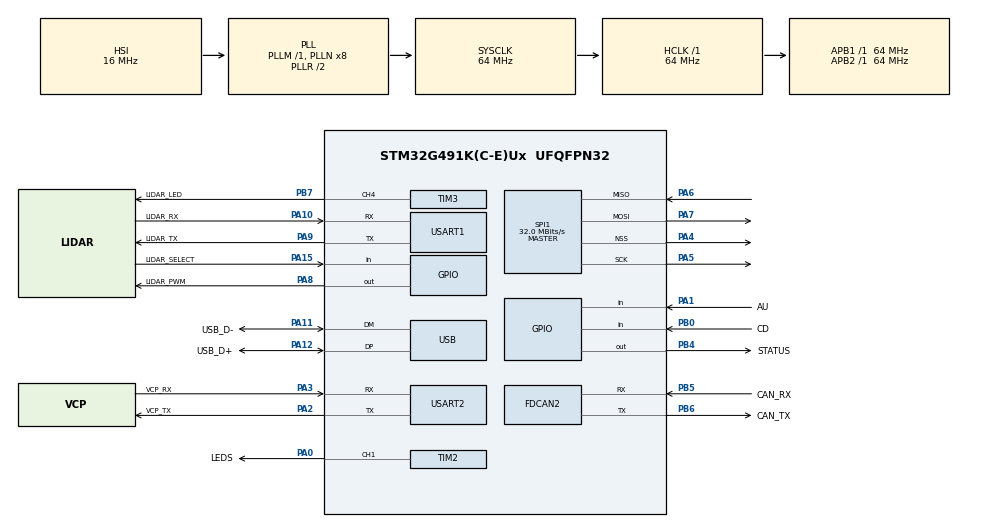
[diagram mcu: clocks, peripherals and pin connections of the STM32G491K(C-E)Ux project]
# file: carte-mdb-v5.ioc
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Dma.Request0=USART1_RX
Dma.USART1_RX.0.Direction=DMA_PERIPH_TO_MEMORY
Dma.USART1_RX.0.EventEnable=DISABLE
Dma.USART1_RX.0.Instance=DMA1_Channel5
Dma.USART1_RX.0.MemDataAlignment=DMA_MDATAALIGN_BYTE
Dma.USART1_RX.0.MemInc=DMA_MINC_ENABLE
Dma.USART1_RX.0.Mode=DMA_CIRCULAR
Dma.USART1_RX.0.PeriphDataAlignment=DMA_PDATAALIGN_BYTE
Dma.USART1_RX.0.PeriphInc=DMA_PINC_DISABLE
Dma.USART1_RX.0.Polarity=HAL_DMAMUX_REQ_GEN_RISING
Dma.USART1_RX.0.Priority=DMA_PRIORITY_HIGH
Dma.USART1_RX.0.RequestNumber=1
Dma.USART1_RX.0.SignalID=NONE
Dma.USART1_RX.0.SyncEnable=DISABLE
Dma.USART1_RX.0.SyncPolarity=HAL_DMAMUX_SYNC_NO_EVENT
Dma.USART1_RX.0.SyncRequestNumber=1
Dma.USART1_RX.0.SyncSignalID=NONE
FDCAN2.CalculateBaudRateNominal=800000
FDCAN2.CalculateTimeBitNominal=1250
FDCAN2.CalculateTimeQuantumNominal=250.0
Mcu.Family=STM32G4
Mcu.Name=STM32G491K(C-E)Ux
Mcu.Package=UFQFPN32
NVIC.DMA1_Channel5_IRQn=true\:0\:0\:false\:false\:true\:false\:true\:true
NVIC.PriorityGroup=NVIC_PRIORITYGROUP_4
NVIC.USART1_IRQn=true\:0\:0\:false\:false\:true\:true\:true\:true
PA0.GPIO_Label=LEDS
PA0.Signal=S_TIM2_CH1
PA1.GPIO_Label=AU
PA1.GPIO_PuPd=GPIO_PULLDOWN
PA1.Signal=GPIO_Input
PA10.GPIO_Label=LIDAR_RX
PA10.Mode=Asynchronous
PA10.Signal=USART1_RX
PA11.GPIO_Label=USB_D-
PA11.Mode=Device
PA11.Signal=USB_DM
PA12.GPIO_Label=USB_D+
PA12.Mode=Device
PA12.Signal=USB_DP
PA13.GPIO_Label=SWDIO
PA13.Mode=Trace_Asynchronous_SW
PA13.Signal=SYS_JTMS-SWDIO
PA14.GPIO_Label=SWCLK
PA14.Mode=Trace_Asynchronous_SW
PA14.Signal=SYS_JTCK-SWCLK
PA15.GPIO_Label=LIDAR_SELECT
PA15.GPIO_PuPd=GPIO_PULLDOWN
PA15.Signal=GPIO_Input
PA2.GPIO_Label=VCP_TX
PA2.Mode=Asynchronous
PA2.Signal=USART2_TX
PA3.GPIO_Label=VCP_RX
PA3.Mode=Asynchronous
PA3.Signal=USART2_RX
PA4.Mode=NSS_Signal_Hard_Output
PA4.Signal=SPI1_NSS
PA5.Mode=Full_Duplex_Master
PA5.Signal=SPI1_SCK
PA6.Mode=Full_Duplex_Master
PA6.Signal=SPI1_MISO
PA7.Mode=Full_Duplex_Master
PA7.Signal=SPI1_MOSI
PA8.GPIO_Label=LIDAR_PWM
PA8.Signal=GPIO_Output
PA9.GPIO_Label=LIDAR_TX
PA9.Mode=Asynchronous
PA9.Signal=USART1_TX
PB0.GPIO_Label=CD
PB0.GPIO_PuPd=GPIO_PULLUP
PB0.Signal=GPIO_Input
PB3.GPIO_Label=SWO
PB3.Mode=Trace_Asynchronous_SW
PB3.Signal=SYS_JTDO-SWO
PB4.GPIO_Label=STATUS
PB4.GPIO_Speed=GPIO_SPEED_FREQ_HIGH
PB4.PinState=GPIO_PIN_RESET
PB4.Signal=GPIO_Output
PB5.GPIO_Label=CAN_RX
PB5.Mode=FDCAN_Activate
PB5.Signal=FDCAN2_RX
PB6.GPIO_Label=CAN_TX
PB6.Mode=FDCAN_Activate
PB6.Signal=FDCAN2_TX
PB7.GPIO_Label=LIDAR_LED
PB7.Signal=S_TIM3_CH4
ProjectManager.HeapSize=0x200
ProjectManager.StackSize=0x400
ProjectManager.TargetToolchain=STM32CubeIDE
RCC.ADC12Freq_Value=64000000
RCC.ADC345Freq_Value=64000000
RCC.AHBFreq_Value=64000000
RCC.APB1Freq_Value=64000000
RCC.APB1TimFreq_Value=64000000
RCC.APB2Freq_Value=64000000
RCC.APB2TimFreq_Value=64000000
RCC.CortexFreq_Value=64000000
RCC.EXTERNAL_CLOCK_VALUE=12288000
RCC.HCLKFreq_Value=64000000
RCC.HSE_VALUE=8000000
RCC.HSI48_VALUE=48000000
RCC.HSI_VALUE=16000000
RCC.LSE_VALUE=32768
RCC.SYSCLKFreq_VALUE=64000000
RCC.SYSCLKSource=RCC_SYSCLKSOURCE_PLLCLK
RCC.USBFreq_Value=48000000
RCC.VCOOutputFreq_Value=128000000
SH.S_TIM2_CH1.0=TIM2_CH1,PWM Generation1 CH1
SH.S_TIM3_CH4.0=TIM3_CH4,PWM Generation4 CH4
SPI1.CalculateBaudRate=32.0 MBits/s
SPI1.Direction=SPI_DIRECTION_2LINES
SPI1.Mode=SPI_MODE_MASTER
SPI1.NSSPMode=SPI_NSS_PULSE_ENABLE
SPI1.VirtualNSS=VM_NSSHARD
SPI1.VirtualType=VM_MASTER
TIM2.Channel-PWM\ Generation1\ CH1=TIM_CHANNEL_1
TIM3.Channel-PWM\ Generation4\ CH4=TIM_CHANNEL_4
USART1.VirtualMode-Asynchronous=VM_ASYNC
USART2.VirtualMode-Asynchronous=VM_ASYNC
VP_SYS_VS_DBSignals.Mode=DisableDeadBatterySignals
board=custom

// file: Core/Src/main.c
/* USER CODE BEGIN Header */
/**
  ******************************************************************************
  * @file           : main.c
  * @brief          : Main program body
  ******************************************************************************
  * @attention
  *
  * Copyright (c) 2025 STMicroelectronics.
  * All rights reserved.
  *
  * This software is licensed under terms that can be found in the LICENSE file
  * in the root directory of this software component.
  * If no LICENSE file comes with this software, it is provided AS-IS.
  *
  ******************************************************************************
  */
/* USER CODE END Header */
#include "main.h"
#include "dma.h"
#include "fdcan.h"
#include "spi.h"
#include "tim.h"
#include "usart.h"
#include "usb.h"
#include "gpio.h"

/* USER CODE BEGIN Includes */

#include <stdio.h>
#include <string.h>

#include "rplidar.h"
#include "byteswap.h"

/* USER CODE END Includes */

/* USER CODE BEGIN PV */

// Lidar context definition
LidarContext lidarCtx;

/* USER CODE END PV */

void SystemClock_Config(void);

int main(void)
{
  /* USER CODE BEGIN 1 */
//  uint8_t dma_buffer[0] = {0};
//  descriptor desc_res = {0};
  /* USER CODE END 1 */

  /* MCU Configuration--------------------------------------------------------*/

  /* Reset of all peripherals, Initializes the Flash interface and the Systick. */
  HAL_Init();

  /* Configure the system clock */
  SystemClock_Config();

  /* Initialize all configured peripherals */
  MX_GPIO_Init();
  MX_DMA_Init();
  MX_FDCAN2_Init();
  MX_TIM2_Init();
  MX_USART1_UART_Init();
  MX_USART2_UART_Init();
  MX_USB_PCD_Init();
  MX_SPI1_Init();
  MX_TIM3_Init();
  /* USER CODE BEGIN 2 */

  // Initialise RPLidar with motor control coordinates
  LIDAR_Init(&lidarCtx, &huart1, LIDAR_PWM_GPIO_Port, LIDAR_PWM_Pin);

  /* USER CODE END 2 */

  /* Infinite loop */
  while (1)
  {

    /* USER CODE BEGIN 3 */
	  if (HAL_GPIO_ReadPin(AU_GPIO_Port, AU_Pin) != GPIO_PIN_RESET) {
		  // Button activated
		  if (lidarCtx.state == LIDAR_STATE_STANDBY) {
			  // Start the lidar if it's in standby
			  if (LIDAR_Scan(&lidarCtx) != 0) {
				  printf("Error starting lidar\r\n");
			  }
		  }
	      else if (lidarCtx.state == LIDAR_STATE_SCANNING) {
	          // Retrieve and process points if lidar is scanning
//	          uint16_t pointCount = LIDAR_GetPoints(&lidarCtx, pointBuffer, 100);

//	          if (pointCount > 0) {
	        	  // Process the retrieved points
	        	  // For example, send them via UART2 or display them
//	        	  printf("Received %d points\r\n", pointCount);
	        	  // Example: Display the first point
//	        	  printf("Angle: %.2f°, Distance: %.2f mm, Quality: %d\r\n", pointBuffer[0].angle, pointBuffer[0].distance, pointBuffer[0].quality);
//	          }

	          // Periodically check lidar health
//	          LIDAR_HealthCheck(&lidarCtx);
	      }
	  } else {
		  // Button deactivated, stop lidar if it was active
	      if (lidarCtx.state != LIDAR_STATE_STANDBY) {
	    	  LIDAR_Stop(&lidarCtx);
	      }
	  }

	  HAL_Delay(10); // Small delay to avoid overloading the processor
  }

  /* USER CODE END 3 */
}

void SystemClock_Config(void)
{
  RCC_OscInitTypeDef RCC_OscInitStruct = {0};
  RCC_ClkInitTypeDef RCC_ClkInitStruct = {0};

  /** Configure the main internal regulator output voltage
  */
  HAL_PWREx_ControlVoltageScaling(PWR_REGULATOR_VOLTAGE_SCALE1);

  /** Initializes the RCC Oscillators according to the specified parameters
  * in the RCC_OscInitTypeDef structure.
  */
  RCC_OscInitStruct.OscillatorType = RCC_OSCILLATORTYPE_HSI|RCC_OSCILLATORTYPE_HSI48;
  RCC_OscInitStruct.HSIState = RCC_HSI_ON;
  RCC_OscInitStruct.HSICalibrationValue = RCC_HSICALIBRATION_DEFAULT;
  RCC_OscInitStruct.HSI48State = RCC_HSI48_ON;
  RCC_OscInitStruct.PLL.PLLState = RCC_PLL_ON;
  RCC_OscInitStruct.PLL.PLLSource = RCC_PLLSOURCE_HSI;
  RCC_OscInitStruct.PLL.PLLM = RCC_PLLM_DIV1;
  RCC_OscInitStruct.PLL.PLLN = 8;
  RCC_OscInitStruct.PLL.PLLP = RCC_PLLP_DIV2;
  RCC_OscInitStruct.PLL.PLLQ = RCC_PLLQ_DIV2;
  RCC_OscInitStruct.PLL.PLLR = RCC_PLLR_DIV2;
  if (HAL_RCC_OscConfig(&RCC_OscInitStruct) != HAL_OK)
  {
    Error_Handler();
  }

  /** Initializes the CPU, AHB and APB buses clocks
  */
  RCC_ClkInitStruct.ClockType = RCC_CLOCKTYPE_HCLK|RCC_CLOCKTYPE_SYSCLK
                              |RCC_CLOCKTYPE_PCLK1|RCC_CLOCKTYPE_PCLK2;
  RCC_ClkInitStruct.SYSCLKSource = RCC_SYSCLKSOURCE_PLLCLK;
  RCC_ClkInitStruct.AHBCLKDivider = RCC_SYSCLK_DIV1;
  RCC_ClkInitStruct.APB1CLKDivider = RCC_HCLK_DIV1;
  RCC_ClkInitStruct.APB2CLKDivider = RCC_HCLK_DIV1;

  if (HAL_RCC_ClockConfig(&RCC_ClkInitStruct, FLASH_LATENCY_2) != HAL_OK)
  {
    Error_Handler();
  }
}

/* USER CODE BEGIN 4 */

void HAL_UART_RxHalfCpltCallback(UART_HandleTypeDef *huart)
{
  LIDAR_GetDMAScanData(&lidarCtx, 0);
}

void HAL_UART_RxCpltCallback(UART_HandleTypeDef *huart)
{
  LIDAR_GetDMAScanData(&lidarCtx, 1);
}

/* USER CODE END 4 */

void Error_Handler(void)
{
  __disable_irq();
  while (1)
  {
  }
}
